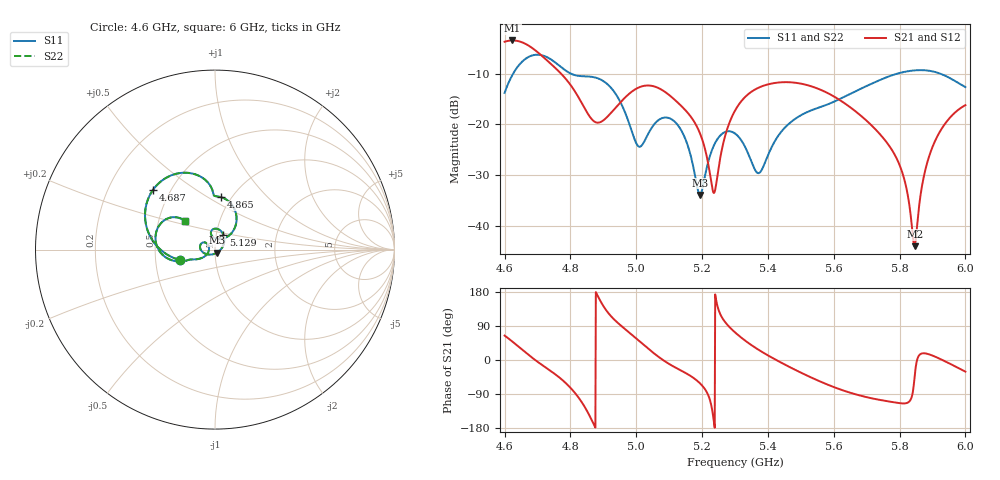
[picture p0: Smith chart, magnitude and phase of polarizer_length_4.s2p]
! TOUCHSTONE file generated by CST MICROWAVE STUDIO
! Date and time: Sun Dec  1 17:16:57 2024
! Project name: test_tuning.cst
! Parameters = {airCoaxOuterDiameter=3; chamferAngle=45; chamferWidth=24; connectorLength=10; drillingHoleDiameter=4.1; feedLength=60; flareDiameter=130; flareLength=70; gratingDistance=0; gratingGap=1.90274; outletLength=30; polarizerLength=70; probe1Diameter=1.3; probe1Distance=14; probe1Length=12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
! Header version: 2024
! Port assignment regex: !\s*Touchstone port\s*([0-9]+)\s*=\s*(CST MWS port|CST DES external port|CST DES block port)\s*(.+)\s* \(\"(.*)\"\)(\s*mode\s*([0-9]+))?.*
! Touchstone port assignment:
! Touchstone port 1 = CST MWS port 1 ("Input1")
! Touchstone port 2 = CST MWS port 2 ("Input2")
# GHz S MA R 50
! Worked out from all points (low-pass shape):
!   1001 points, 4.6 GHz to 6 GHz, reference 50 ohm
!   highest |S21| = -3.49 dB at 4.624 GHz (marker M1); lowest = -43.9 dB at 5.846 GHz (marker M2)
!   |S21| within 3 dB of the highest: start of sweep to 4.713 GHz
!   lowest |S11| = -33.9 dB at 5.194 GHz (marker M3), VSWR 1.04, Z = 51 - j1.81 ohm
!   |S11| at or under -10 dB: start of sweep to 4.626 GHz; 4.801 GHz to 5.794 GHz (993 MHz wide, 18.7 % of centre); 5.923 GHz to end of sweep
!   |S22| runs from -33.9 to -6.3 dB; largest |S21 - S12| = 4.2e-07
!   S11 on the Smith chart (normalised r, x): 4.6 GHz: 0.67, -0.08; 4.687 GHz: 0.40, +0.35; 4.865 GHz: 0.90, +0.58; 5.129 GHz: 1.08, +0.18; 6 GHz: 0.68, +0.23
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4.6  0.2042 -163.6  0.65 64.4  0.65 64.4  0.2042 -163.6
4.6238  0.3072 179.5  0.6692 48.5  0.6692 48.5  0.3072 179.5
4.6868  0.4796 136.1  0.555 4.0  0.555 4.0  0.4796 136.1
4.761  0.3901 97.7  0.3415 -42.5  0.3415 -42.5  0.3901 97.7
4.8338  0.2981 89.8  0.1636 -110.5  0.1636 -110.5  0.2981 89.8
4.8646  0.2938 82.9  0.1127 -158.3  0.1127 -158.3  0.2938 82.9
4.936  0.2027 53.7  0.1445 104.3  0.1445 104.3  0.2027 53.7
5.0074  0.0607 74.3  0.2307 51.2  0.2307 51.2  0.0607 74.3
5.0676  0.1104 98.6  0.2278 8.4  0.2278 8.4  0.1104 98.6
5.1292  0.09562 60.8  0.1605 -24.6  0.1605 -24.6  0.09562 60.8
5.1936  0.02025 -61.1  0.08173 -61.5  0.08173 -61.5  0.02025 -61.1
5.237  0.0632 -161.5  0.02132 -169.9  0.02132 -169.9  0.0632 -161.5
5.3  0.08148 152.9  0.1367 72.9  0.1367 72.9  0.08148 152.9
5.3728  0.03326 178.5  0.2306 26.3  0.2306 26.3  0.03326 178.5
5.4442  0.08759 -147.7  0.26 -8.8  0.26 -8.8  0.08759 -147.7
5.5338  0.1384 -156.9  0.236 -47.1  0.236 -47.1  0.1384 -156.9
5.7676  0.2966 -175.0  0.06223 -109.4  0.06223 -109.4  0.2966 -175.0
5.8124  0.3273 175.2  0.03043 -114.6  0.03043 -114.6  0.3273 175.2
5.846  0.3399 166.9  0.006357 -42.3  0.006357 -42.3  0.3399 166.9
5.8712  0.3415 160.3  0.02805 17.7  0.02805 17.7  0.3415 160.3
5.8978  0.3336 153.2  0.05753 12.4  0.05753 12.4  0.3336 153.2
6  0.2328 136.4  0.1547 -30.7  0.1547 -30.7  0.2328 136.4
